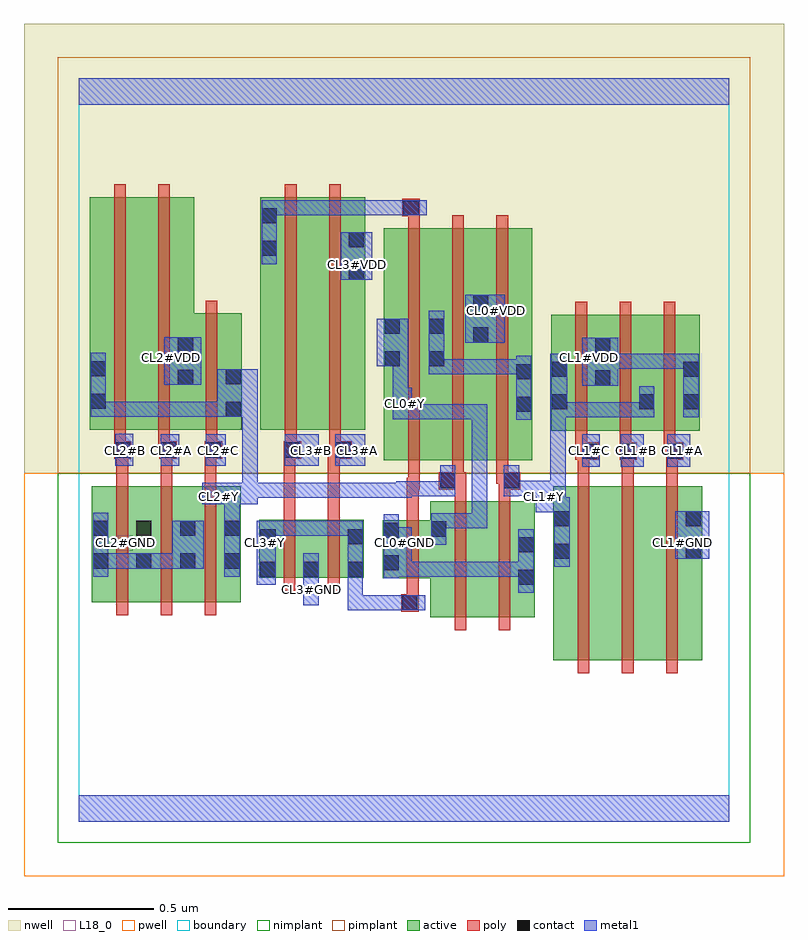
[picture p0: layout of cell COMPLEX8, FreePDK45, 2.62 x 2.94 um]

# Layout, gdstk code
import gdstk
lib = gdstk.Library(unit=1e-6, precision=1e-09)
def R(c, l, rs):  # rectangles x0, y0, x1, y1
    for r in rs: c.add(gdstk.rectangle(r[:2], r[2:], *l))
def A(c, l, x, y, w, h, nx, ny, dx, dy):  # array of equal rectangles
    R(c, l, [(x+i*dx, y+j*dy, x+i*dx+w, y+j*dy+h) for i in range(nx) for j in range(ny)])
active = (1, 0)
pwell = (2, 0)
nwell = (3, 0)
nimplant = (4, 0)
pimplant = (5, 0)
poly = (9, 0)
contact = (10, 0)
metal1 = (11, 0)
L18_0 = (18, 0)
boundary = (235, 0)

complex8 = lib.new_cell('COMPLEX8')
A(complex8, active, 0.194, 0.756, 0.06, 0.4, 3, 1, 0.152, 0)
A(complex8, active, 1.05, 1.244, 0.06, 0.8, 3, 1, 0.152, 0)
R(complex8, active, [(1.634,0.556,1.694,1.156), (1.634,0.556,1.814,1.156), (1.814,0.556,1.966,1.156), (1.966,0.556,2.146,1.156), (2.086,0.556,2.146,1.156), (1.21,0.704,1.39,1.104), (1.39,0.704,1.57,1.104), (0.046,0.756,0.106,1.156), (0.046,0.756,0.254,1.156), (0.194,0.756,0.406,1.156), (0.346,0.756,0.558,1.156), (1.51,0.756,1.57,1.104), (1.046,0.838,1.27,1.038), (1.046,0.838,1.106,1.038), (0.622,0.84,0.682,1.04), (0.622,0.84,0.83,1.04), (0.77,0.84,0.982,1.04), (0.77,0.84,0.83,0.9), (0.922,0.84,0.982,1.04), (1.21,0.956,1.27,1.038), (1.05,1.244,1.262,2.044), (1.202,1.244,1.414,2.044), (1.354,1.244,1.562,2.044), (1.502,1.244,1.562,2.044), (1.626,1.346,1.834,1.746), (1.626,1.346,1.686,1.644), (1.774,1.346,1.986,1.746), (1.774,1.346,1.834,1.67), (1.926,1.346,2.138,1.746), (2.078,1.346,2.138,1.644), (0.038,1.35,0.098,2.044), (0.038,1.35,0.218,2.15), (0.218,1.35,0.398,2.15), (0.338,1.35,0.562,1.75), (0.338,1.35,0.398,1.672), (0.502,1.35,0.562,1.644), (0.626,1.35,0.686,2.15), (0.626,1.35,0.806,2.15), (0.806,1.35,0.986,2.15), (0.926,1.35,0.986,2.044), (1.926,1.416,1.986,1.644)])
R(complex8, pwell, [(-0.188,-0.188,2.428,1.2)])
R(complex8, nwell, [(-0.188,1.2,2.428,2.748)])
R(complex8, nimplant, [(-0.072,-0.072,2.312,1.2)])
R(complex8, pimplant, [(-0.072,1.2,2.312,2.632)])
A(complex8, poly, 1.718, 0.512, 0.04, 0.688, 3, 1, 0.152, 0)
A(complex8, poly, 0.13, 0.712, 0.04, 0.488, 3, 1, 0.152, 0)
A(complex8, poly, 0.13, 1.16, 0.04, 0.13, 3, 1, 0.152, 0)
A(complex8, poly, 1.718, 1.16, 0.04, 0.126, 3, 1, 0.152, 0)
A(complex8, poly, 1.134, 1.2, 0.04, 0.888, 3, 1, 0.152, 0)
A(complex8, poly, 0.122, 1.25, 0.06, 0.06, 3, 1, 0.156, 0)
A(complex8, poly, 1.71, 1.266, 0.04, 0.076, 3, 1, 0.152, 0)
A(complex8, poly, 1.71, 1.302, 0.04, 0.488, 3, 1, 0.152, 0)
R(complex8, poly, [(1.294,0.66,1.334,1.148), (1.446,0.66,1.486,1.148), (1.11,0.724,1.17,0.784), (1.13,0.744,1.17,0.834), (1.13,0.794,1.17,1.082), (0.706,0.796,0.746,1.084), (0.858,0.796,0.898,1.084), (1.13,1.042,1.17,1.184), (0.706,1.044,0.746,1.29), (0.858,1.044,0.898,1.29), (1.294,1.108,1.334,1.184), (1.446,1.108,1.486,1.184), (1.13,1.144,1.17,1.184), (1.13,1.144,1.17,1.184), (1.13,1.144,1.174,1.184), (1.134,1.144,1.174,1.24), (1.24,1.144,1.334,1.204), (1.446,1.144,1.52,1.204), (1.286,1.164,1.326,1.24), (1.286,1.164,1.326,1.204), (1.286,1.164,1.326,1.204), (1.438,1.164,1.478,1.24), (1.438,1.164,1.486,1.204), (1.446,1.164,1.486,1.204), (1.71,1.246,1.79,1.306), (1.718,1.246,1.758,1.286), (1.718,1.246,1.758,1.286), (1.862,1.246,1.922,1.306), (1.87,1.246,1.91,1.286), (1.87,1.246,1.91,1.286), (2.022,1.246,2.082,1.306), (0.13,1.25,0.17,1.29), (0.13,1.25,0.17,1.29), (0.434,1.25,0.474,1.29), (0.434,1.25,0.474,1.29), (0.706,1.25,0.746,1.29), (0.706,1.25,0.746,1.29), (0.706,1.25,0.766,1.31), (0.858,1.25,0.902,1.29), (0.862,1.25,0.902,1.29), (0.862,1.25,0.94,1.31), (2.014,1.266,2.062,1.306), (2.022,1.266,2.062,1.306), (0.122,1.27,0.162,1.346), (0.274,1.27,0.314,1.346), (0.274,1.27,0.318,1.31), (0.278,1.27,0.318,1.31), (0.438,1.27,0.478,1.346), (0.71,1.27,0.75,1.346), (0.862,1.27,0.902,1.346), (0.122,1.306,0.162,2.194), (0.274,1.306,0.314,2.194), (0.438,1.306,0.478,1.794), (0.71,1.306,0.75,2.194), (0.862,1.306,0.902,2.194), (1.134,2.048,1.174,2.124), (1.114,2.084,1.174,2.144)])
A(complex8, contact, 0.198, 0.872, 0.052, 0.052, 3, 2, 0.152, 0.112)
A(complex8, contact, 0.126, 1.254, 0.052, 0.052, 3, 1, 0.156, 0)
R(complex8, contact, [(1.114,0.728,1.166,0.78), (1.514,0.816,1.566,0.868), (0.626,0.844,0.678,0.896), (0.774,0.844,0.826,0.896), (0.926,0.844,0.978,0.896), (1.05,0.866,1.102,0.918), (0.05,0.872,0.102,0.924), (1.638,0.906,1.69,0.958), (2.09,0.906,2.142,0.958), (1.514,0.928,1.566,0.98), (0.626,0.956,0.678,1.008), (0.926,0.956,0.978,1.008), (1.05,0.978,1.102,1.03), (1.214,0.982,1.266,1.034), (0.05,0.984,0.102,1.036), (1.638,1.018,1.69,1.07), (2.09,1.018,2.142,1.07), (1.244,1.148,1.296,1.2), (1.464,1.148,1.516,1.2), (1.734,1.25,1.786,1.302), (1.866,1.25,1.918,1.302), (2.026,1.25,2.078,1.302), (0.71,1.254,0.762,1.306), (0.884,1.254,0.936,1.306), (0.506,1.394,0.558,1.446), (1.506,1.412,1.558,1.464), (1.63,1.42,1.682,1.472), (1.93,1.42,1.982,1.472), (2.082,1.42,2.134,1.472), (0.042,1.422,0.094,1.474), (1.778,1.502,1.83,1.554), (0.342,1.504,0.394,1.556), (0.506,1.506,0.558,1.558), (1.506,1.524,1.558,1.576), (1.63,1.532,1.682,1.584), (2.082,1.532,2.134,1.584), (0.042,1.534,0.094,1.586), (1.054,1.568,1.106,1.62), (1.206,1.568,1.258,1.62), (1.778,1.614,1.83,1.666), (0.342,1.616,0.394,1.668), (1.358,1.65,1.41,1.702), (1.054,1.68,1.106,1.732), (1.206,1.68,1.258,1.732), (1.358,1.762,1.41,1.814), (0.93,1.866,0.982,1.918), (0.63,1.948,0.682,2), (0.93,1.978,0.982,2.03), (0.63,2.06,0.682,2.112), (1.118,2.088,1.17,2.14)])
R(complex8, metal1, [(0,0,2.24,0.092), (0.926,0.728,0.978,0.78), (0.926,0.728,1.138,0.78), (0.926,0.728,0.978,0.868), (1.086,0.728,1.138,0.78), (1.086,0.728,1.138,0.78), (1.086,0.728,1.194,0.78), (0.774,0.746,0.826,0.924), (1.514,0.788,1.566,1.008), (0.614,0.816,0.678,1.036), (0.926,0.816,0.978,1.036), (0.926,0.816,0.978,0.868), (0.926,0.816,0.978,0.868), (1.05,0.838,1.102,1.058), (0.05,0.844,0.102,1.064), (0.502,0.844,0.554,1.064), (1.094,0.844,1.256,0.896), (1.094,0.844,1.146,1.014), (1.204,0.844,1.256,0.896), (1.204,0.844,1.256,0.896), (1.204,0.844,1.256,0.896), (1.204,0.844,1.43,0.896), (1.378,0.844,1.43,0.896), (1.378,0.844,1.566,0.896), (1.514,0.844,1.566,0.896), (1.514,0.844,1.566,0.896), (0.05,0.872,0.102,0.924), (0.05,0.872,0.102,0.924), (0.05,0.872,0.212,0.924), (0.16,0.872,0.212,0.924), (0.16,0.872,0.212,0.924), (0.16,0.872,0.212,0.924), (0.16,0.872,0.374,0.924), (0.322,0.872,0.43,1.036), (1.638,0.878,1.69,1.098), (2.054,0.906,2.17,1.07), (1.214,0.954,1.266,1.062), (1.05,0.962,1.146,1.014), (0.626,0.984,0.826,1.036), (0.774,0.984,0.826,1.036), (0.774,0.984,0.826,1.036), (0.774,0.984,0.826,1.036), (0.774,0.984,0.968,1.036), (0.916,0.984,0.968,1.036), (0.916,0.984,0.978,1.036), (1.214,1.01,1.266,1.062), (1.214,1.01,1.266,1.062), (1.214,1.01,1.406,1.062), (1.354,1.01,1.406,1.062), (1.354,1.01,1.406,1.062), (1.354,1.01,1.406,1.062), (1.354,1.01,1.406,1.438), (0.502,1.012,0.554,1.146), (1.638,1.046,1.69,1.118), (1.574,1.066,1.626,1.174), (1.574,1.066,1.676,1.118), (1.624,1.066,1.676,1.118), (1.624,1.066,1.676,1.118), (1.624,1.066,1.676,1.444), (1.624,1.066,1.69,1.118), (0.426,1.094,0.616,1.168), (0.564,1.116,0.616,1.168), (0.564,1.116,0.616,1.168), (0.564,1.116,0.826,1.168), (0.564,1.116,0.616,1.446), (0.774,1.116,0.826,1.168), (0.774,1.116,0.826,1.168), (0.774,1.116,0.826,1.168), (0.774,1.116,0.936,1.168), (0.884,1.116,0.936,1.168), (0.884,1.116,0.936,1.168), (0.884,1.116,0.936,1.168), (0.884,1.116,1.146,1.168), (1.094,1.116,1.146,1.172), (1.094,1.12,1.146,1.172), (1.094,1.12,1.146,1.172), (1.094,1.12,1.256,1.172), (1.204,1.12,1.256,1.172), (1.204,1.12,1.296,1.172), (1.244,1.12,1.296,1.228), (1.464,1.12,1.516,1.228), (1.464,1.122,1.626,1.174), (1.734,1.222,1.794,1.334), (1.866,1.222,1.946,1.334), (2.026,1.222,2.106,1.334), (0.126,1.226,0.188,1.336), (0.282,1.226,0.346,1.334), (0.438,1.226,0.506,1.334), (0.71,1.226,0.826,1.334), (0.884,1.226,0.986,1.334), (1.506,1.384,1.558,1.604), (1.082,1.386,1.146,1.494), (1.094,1.386,1.146,1.438), (1.094,1.386,1.146,1.438), (1.094,1.386,1.256,1.438), (1.204,1.386,1.256,1.438), (1.204,1.386,1.256,1.438), (1.204,1.386,1.256,1.438), (1.204,1.386,1.406,1.438), (1.354,1.386,1.406,1.438), (1.624,1.392,1.682,1.612), (1.63,1.392,1.736,1.444), (1.684,1.392,1.736,1.444), (1.684,1.392,1.846,1.444), (1.794,1.392,1.846,1.444), (1.794,1.392,1.846,1.444), (1.794,1.392,1.846,1.444), (1.794,1.392,1.982,1.444), (1.93,1.392,1.982,1.5), (2.082,1.392,2.134,1.612), (0.042,1.394,0.094,1.614), (0.042,1.394,0.094,1.446), (0.042,1.394,0.094,1.446), (0.042,1.394,0.236,1.446), (0.184,1.394,0.236,1.446), (0.184,1.394,0.236,1.446), (0.184,1.394,0.236,1.446), (0.184,1.394,0.346,1.446), (0.294,1.394,0.346,1.446), (0.294,1.394,0.346,1.446), (0.294,1.394,0.346,1.446), (0.294,1.394,0.53,1.446), (0.478,1.394,0.616,1.558), (0.564,1.394,0.616,1.446), (0.564,1.394,0.616,1.446), (1.082,1.442,1.134,1.62), (1.734,1.502,1.858,1.666), (0.294,1.504,0.422,1.668), (1.206,1.54,1.258,1.76), (1.206,1.54,1.258,1.592), (1.206,1.54,1.258,1.592), (1.206,1.54,1.438,1.592), (1.386,1.54,1.438,1.592), (1.386,1.54,1.438,1.592), (1.386,1.54,1.438,1.592), (1.386,1.54,1.558,1.592), (1.806,1.56,1.996,1.612), (1.806,1.56,1.858,1.612), (1.806,1.56,1.858,1.612), (1.944,1.56,2.134,1.612), (1.944,1.56,1.996,1.612), (1.944,1.56,1.996,1.612), (1.944,1.56,1.996,1.612), (1.026,1.568,1.134,1.732), (1.33,1.65,1.466,1.814), (0.902,1.866,1.01,2.03), (0.63,1.92,0.682,2.14), (0.63,2.088,0.826,2.14), (0.774,2.088,0.826,2.14), (0.774,2.088,0.826,2.14), (0.774,2.088,0.826,2.14), (0.774,2.088,0.936,2.14), (0.884,2.088,0.936,2.14), (0.884,2.088,0.936,2.14), (0.884,2.088,0.936,2.14), (0.884,2.088,0.936,2.14), (0.884,2.088,0.936,2.14), (0.884,2.088,1.142,2.14), (1.09,2.088,1.142,2.14), (1.09,2.088,1.142,2.14), (1.09,2.088,1.198,2.14), (0,2.468,2.24,2.56)])
A(complex8, L18_0, 0.134, 0.934, 0.052, 0.052, 3, 1, 0.48, 0)
A(complex8, L18_0, 0.134, 1.254, 0.052, 0.052, 3, 1, 0.16, 0)
A(complex8, L18_0, 1.734, 1.254, 0.052, 0.052, 3, 1, 0.16, 0)
R(complex8, L18_0, [(0,0,2.24,0.092), (0.926,0.728,0.978,0.78), (0.926,0.728,0.978,0.868), (0.926,0.728,1.138,0.78), (1.086,0.728,1.138,0.78), (1.086,0.728,1.138,0.78), (1.086,0.728,1.194,0.78), (0.774,0.746,0.826,0.924), (0.774,0.774,0.826,0.826), (1.514,0.788,1.566,1.008), (0.614,0.816,0.678,1.036), (0.926,0.816,0.978,1.036), (0.926,0.816,0.978,0.868), (0.926,0.816,0.978,0.868), (1.05,0.838,1.102,1.058), (0.502,0.844,0.554,1.064), (1.094,0.844,1.256,0.896), (1.094,0.844,1.146,1.014), (1.204,0.844,1.256,0.896), (1.204,0.844,1.256,0.896), (1.204,0.844,1.256,0.896), (1.204,0.844,1.43,0.896), (1.378,0.844,1.43,0.896), (1.378,0.844,1.566,0.896), (1.514,0.844,1.566,0.896), (1.514,0.844,1.566,0.896), (1.638,0.878,1.69,1.098), (2.054,0.906,2.17,1.07), (2.054,0.934,2.106,0.986), (1.214,0.954,1.266,1.062), (1.05,0.962,1.146,1.014), (0.626,0.984,0.826,1.036), (0.774,0.984,0.826,1.036), (0.774,0.984,0.826,1.036), (0.774,0.984,0.826,1.036), (0.774,0.984,0.968,1.036), (0.916,0.984,0.968,1.036), (0.916,0.984,0.978,1.036), (1.214,1.01,1.266,1.062), (1.214,1.01,1.266,1.062), (1.214,1.01,1.406,1.062), (1.354,1.01,1.406,1.062), (1.354,1.01,1.406,1.062), (1.354,1.01,1.406,1.062), (1.354,1.01,1.406,1.438), (0.502,1.012,0.554,1.146), (1.638,1.046,1.69,1.118), (1.574,1.066,1.626,1.174), (1.574,1.066,1.676,1.118), (1.624,1.066,1.676,1.118), (1.624,1.066,1.676,1.118), (1.624,1.066,1.69,1.118), (1.624,1.066,1.676,1.444), (0.426,1.094,0.616,1.168), (0.454,1.094,0.506,1.146), (1.574,1.094,1.626,1.146), (0.564,1.116,0.616,1.168), (0.564,1.116,0.616,1.168), (0.564,1.116,0.616,1.446), (0.564,1.116,0.826,1.168), (0.774,1.116,0.826,1.168), (0.774,1.116,0.826,1.168), (0.774,1.116,0.826,1.168), (0.774,1.116,0.936,1.168), (0.884,1.116,0.936,1.168), (0.884,1.116,0.936,1.168), (0.884,1.116,0.936,1.168), (0.884,1.116,1.146,1.168), (1.094,1.116,1.146,1.172), (1.094,1.12,1.146,1.172), (1.094,1.12,1.146,1.172), (1.094,1.12,1.256,1.172), (1.204,1.12,1.256,1.172), (1.204,1.12,1.296,1.172), (1.244,1.12,1.296,1.228), (1.464,1.12,1.516,1.228), (1.464,1.122,1.626,1.174), (1.734,1.222,1.794,1.334), (1.866,1.222,1.946,1.334), (2.026,1.222,2.106,1.334), (0.126,1.226,0.188,1.336), (0.282,1.226,0.346,1.334), (0.438,1.226,0.506,1.334), (0.71,1.226,0.826,1.334), (0.884,1.226,0.986,1.334), (0.774,1.254,0.826,1.306), (0.934,1.254,0.986,1.306), (1.082,1.386,1.146,1.494), (1.094,1.386,1.146,1.438), (1.094,1.386,1.146,1.438), (1.094,1.386,1.256,1.438), (1.204,1.386,1.256,1.438), (1.204,1.386,1.256,1.438), (1.204,1.386,1.256,1.438), (1.204,1.386,1.406,1.438), (1.354,1.386,1.406,1.438), (1.624,1.392,1.682,1.612), (1.63,1.392,1.736,1.444), (1.684,1.392,1.736,1.444), (1.684,1.392,1.846,1.444), (1.794,1.392,1.846,1.444), (1.794,1.392,1.846,1.444), (1.794,1.392,1.846,1.444), (1.794,1.392,1.982,1.444), (1.93,1.392,1.982,1.5), (2.082,1.392,2.134,1.612), (0.042,1.394,0.094,1.614), (0.042,1.394,0.094,1.446), (0.042,1.394,0.094,1.446), (0.042,1.394,0.236,1.446), (0.184,1.394,0.236,1.446), (0.184,1.394,0.236,1.446), (0.184,1.394,0.236,1.446), (0.184,1.394,0.346,1.446), (0.294,1.394,0.346,1.446), (0.294,1.394,0.346,1.446), (0.294,1.394,0.346,1.446), (0.294,1.394,0.53,1.446), (0.478,1.394,0.616,1.558), (0.564,1.394,0.616,1.446), (0.564,1.394,0.616,1.446), (1.094,1.414,1.146,1.466), (1.082,1.442,1.134,1.62), (1.734,1.502,1.858,1.666), (0.294,1.504,0.422,1.668), (1.806,1.56,1.858,1.612), (1.806,1.56,1.858,1.612), (1.806,1.56,1.996,1.612), (1.944,1.56,1.996,1.612), (1.944,1.56,1.996,1.612), (1.944,1.56,1.996,1.612), (1.944,1.56,2.134,1.612), (1.026,1.568,1.134,1.732), (0.294,1.574,0.346,1.626), (1.734,1.574,1.786,1.626), (1.33,1.65,1.466,1.814), (1.414,1.734,1.466,1.786), (0.902,1.866,1.01,2.03), (0.934,1.894,0.986,1.946), (0.63,1.92,0.682,2.14), (0.63,2.088,0.826,2.14), (0.774,2.088,0.826,2.14), (0.774,2.088,0.826,2.14), (0.774,2.088,0.826,2.14), (0.774,2.088,0.936,2.14), (0.884,2.088,0.936,2.14), (0.884,2.088,0.936,2.14), (0.884,2.088,0.936,2.14), (0.884,2.088,0.936,2.14), (0.884,2.088,0.936,2.14), (0.884,2.088,1.142,2.14), (1.09,2.088,1.142,2.14), (1.09,2.088,1.142,2.14), (1.09,2.088,1.198,2.14), (0,2.468,2.24,2.56)])
R(complex8, boundary, [(0,0,2.24,2.56)])
complex8.add(gdstk.Label('CL0#GND', (1.12,0.96), layer=11, texttype=0))
complex8.add(gdstk.Label('CL0#VDD', (1.44,1.76), layer=11, texttype=0))
complex8.add(gdstk.Label('CL0#Y', (1.12,1.44), layer=11, texttype=0))
complex8.add(gdstk.Label('CL1#A', (2.08,1.28), layer=11, texttype=0))
complex8.add(gdstk.Label('CL1#B', (1.92,1.28), layer=11, texttype=0))
complex8.add(gdstk.Label('CL1#C', (1.76,1.28), layer=11, texttype=0))
complex8.add(gdstk.Label('CL1#GND', (2.08,0.96), layer=11, texttype=0))
complex8.add(gdstk.Label('CL1#VDD', (1.76,1.6), layer=11, texttype=0))
complex8.add(gdstk.Label('CL1#Y', (1.6,1.12), layer=11, texttype=0))
complex8.add(gdstk.Label('CL2#A', (0.32,1.28), layer=11, texttype=0))
complex8.add(gdstk.Label('CL2#B', (0.16,1.28), layer=11, texttype=0))
complex8.add(gdstk.Label('CL2#C', (0.48,1.28), layer=11, texttype=0))
complex8.add(gdstk.Label('CL2#GND', (0.16,0.96), layer=11, texttype=0))
complex8.add(gdstk.Label('CL2#VDD', (0.32,1.6), layer=11, texttype=0))
complex8.add(gdstk.Label('CL2#Y', (0.48,1.12), layer=11, texttype=0))
complex8.add(gdstk.Label('CL3#A', (0.96,1.28), layer=11, texttype=0))
complex8.add(gdstk.Label('CL3#B', (0.8,1.28), layer=11, texttype=0))
complex8.add(gdstk.Label('CL3#GND', (0.8,0.8), layer=11, texttype=0))
complex8.add(gdstk.Label('CL3#VDD', (0.96,1.92), layer=11, texttype=0))
complex8.add(gdstk.Label('CL3#Y', (0.64,0.96), layer=11, texttype=0))

lib.write_gds('COMPLEX8.gds')
